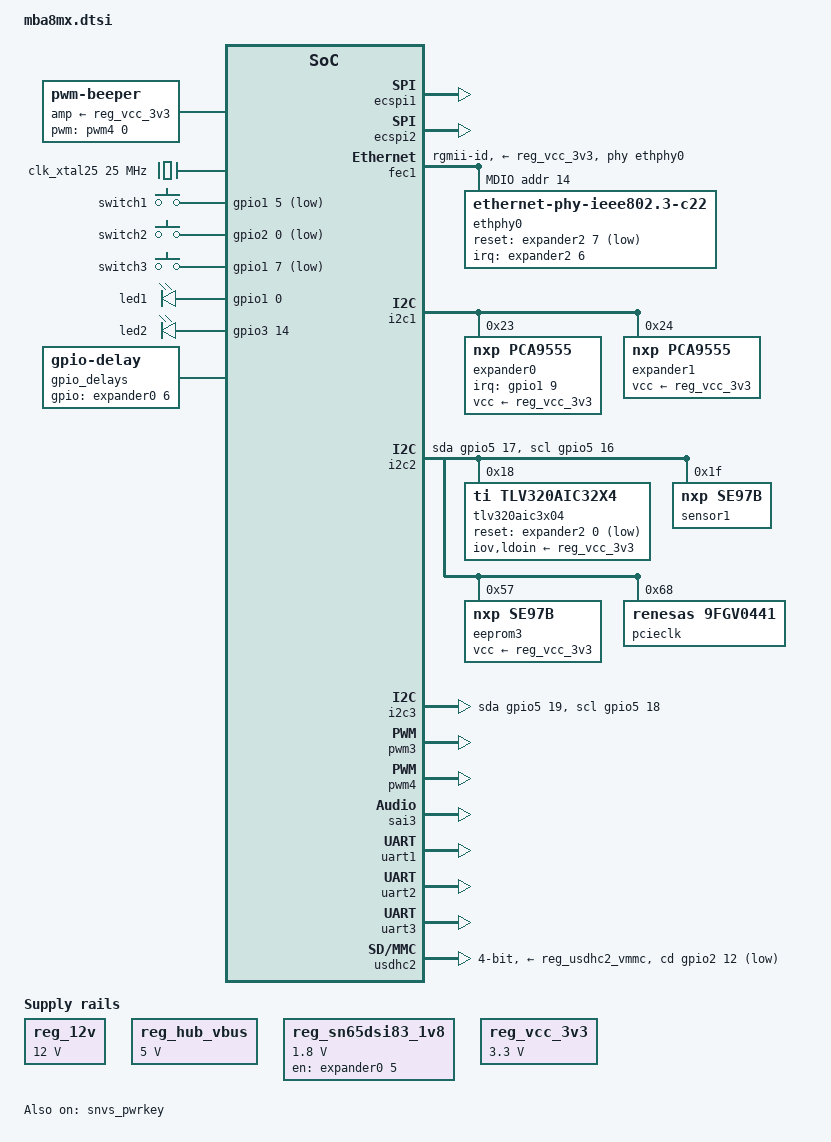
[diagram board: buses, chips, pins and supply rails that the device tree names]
// SPDX-License-Identifier: (GPL-2.0-or-later OR MIT)
/*
 * Copyright 2020-2021 TQ-Systems GmbH
 */

#include <dt-bindings/net/ti-dp83867.h>

/* TQ-Systems GmbH MBa8Mx baseboard */

/ {
	backlight_lvds: backlight {
		compatible = "pwm-backlight";
		pwms = <&pwm3 0 5000000 0>;
		brightness-levels = <0 4 8 16 32 64 128 255>;
		default-brightness-level = <7>;
		power-supply = <&reg_12v>;
		enable-gpios = <&expander2 2 GPIO_ACTIVE_HIGH>;
		status = "disabled";
	};

	beeper {
		compatible = "pwm-beeper";
		pwms = <&pwm4 0 250000 0>;
		beeper-hz = <4000>;
		amp-supply = <&reg_vcc_3v3>;
	};

	chosen {
		stdout-path = &uart3;
	};

	clk_xtal25: clk-xtal25 {
		compatible = "fixed-clock";
		#clock-cells = <0>;
		clock-frequency = <25000000>;
	};

	gpio-keys {
		compatible = "gpio-keys";
		pinctrl-names = "default";
		pinctrl-0 = <&pinctrl_gpiobutton>;
		autorepeat;

		switch-1 {
			label = "switch1";
			linux,code = <BTN_0>;
			gpios = <&gpio1 5 GPIO_ACTIVE_LOW>;
			wakeup-source;
		};

		btn2: switch-2 {
			label = "switch2";
			linux,code = <BTN_1>;
			gpios = <&gpio2 0 GPIO_ACTIVE_LOW>;
			wakeup-source;
		};

		switch-3 {
			label = "switch3";
			linux,code = <BTN_2>;
			gpios = <&gpio1 7 GPIO_ACTIVE_LOW>;
			wakeup-source;
		};
	};

	gpio_leds: gpio-leds {
		compatible = "gpio-leds";
		pinctrl-names = "default";
		pinctrl-0 = <&pinctrl_gpioled>;

		led1 {
			label = "led1";
			gpios = <&gpio1 0 GPIO_ACTIVE_HIGH>;
			linux,default-trigger = "default-on";
		};

		led2: led2 {
			label = "led2";
			gpios = <&gpio3 14 GPIO_ACTIVE_HIGH>;
			linux,default-trigger = "heartbeat";
		};
	};

	gpio_delays: gpio-delays {
		compatible = "gpio-delay";
		#gpio-cells = <3>;
		gpio-controller;
		gpios = <&expander0 6 GPIO_ACTIVE_HIGH>;
		gpio-line-names = "LVDS_BRIDGE_EN_1V8";
	};

	panel: panel-lvds {
		/*
		 * Display is not fixed, so compatible has to be added from
		 * DT overlay
		 */
		backlight = <&backlight_lvds>;
		power-supply = <&reg_vcc_3v3>;
		status = "disabled";

		port {
			panel_in_lvds: endpoint {
				remote-endpoint = <&lvds_bridge_out>;
			};
		};
	};

	reg_12v: regulator-12v {
		compatible = "regulator-fixed";
		regulator-name = "MBA8MX_12V";
		regulator-min-microvolt = <12000000>;
		regulator-max-microvolt = <12000000>;
		regulator-always-on;
	};

	reg_hub_vbus: regulator-hub-vbus {
		compatible = "regulator-fixed";
		regulator-name = "MBA8MX_HUB_VBUS";
		regulator-min-microvolt = <5000000>;
		regulator-max-microvolt = <5000000>;
	};

	reg_sn65dsi83_1v8: regulator-sn65dsi83-1v8 {
		compatible = "regulator-fixed";
		regulator-name = "SN65DSI83_1V8";
		regulator-min-microvolt = <1800000>;
		regulator-max-microvolt = <1800000>;
		gpio = <&expander0 5 GPIO_ACTIVE_HIGH>;
		enable-active-high;
	};

	reg_vcc_3v3: regulator-3v3 {
		compatible = "regulator-fixed";
		regulator-name = "MBA8MX_3V3";
		regulator-min-microvolt = <3300000>;
		regulator-max-microvolt = <3300000>;
	};

	sound: sound {
		compatible = "fsl,imx-audio-tlv320aic32x4";
		model = "tqm-tlv320aic32";
		ssi-controller = <&sai3>;
		audio-codec = <&tlv320aic3x04>;
	};
};

&ecspi1 {
	pinctrl-names = "default";
	pinctrl-0 = <&pinctrl_ecspi1>;
	cs-gpios = <&gpio5 9 GPIO_ACTIVE_LOW>;
	status = "okay";
};

&ecspi2 {
	pinctrl-names = "default";
	pinctrl-0 = <&pinctrl_ecspi2>;
	cs-gpios = <&gpio5 13 GPIO_ACTIVE_LOW>;
	status = "okay";
};

&fec1 {
	pinctrl-names = "default";
	pinctrl-0 = <&pinctrl_fec1>;
	phy-mode = "rgmii-id";
	phy-handle = <&ethphy0>;
	phy-supply = <&reg_vcc_3v3>;
	fsl,magic-packet;
	mac-address = [ 00 00 00 00 00 00 ];
	status = "okay";

	mdio {
		#address-cells = <1>;
		#size-cells = <0>;

		ethphy0: ethernet-phy@e {
			compatible = "ethernet-phy-ieee802.3-c22";
			reg = <0xe>;
			ti,rx-internal-delay = <DP83867_RGMIIDCTL_2_50_NS>;
			ti,tx-internal-delay = <DP83867_RGMIIDCTL_2_50_NS>;
			ti,fifo-depth = <DP83867_PHYCR_FIFO_DEPTH_4_B_NIB>;
			ti,dp83867-rxctrl-strap-quirk;
			ti,clk-output-sel = <DP83867_CLK_O_SEL_OFF>;
			enet-phy-lane-no-swap;
			reset-gpios = <&expander2 7 GPIO_ACTIVE_LOW>;
			reset-assert-us = <500000>;
			reset-deassert-us = <500>;
			interrupt-parent = <&expander2>;
			interrupts = <6 IRQ_TYPE_EDGE_FALLING>;
		};
	};
};

&i2c1 {
	expander0: gpio@23 {
		compatible = "nxp,pca9555";
		reg = <0x23>;
		gpio-controller;
		#gpio-cells = <2>;
		vcc-supply = <&reg_vcc_3v3>;
		interrupt-parent = <&gpio1>;
		interrupts = <9 IRQ_TYPE_EDGE_FALLING>;
		interrupt-controller;
		#interrupt-cells = <2>;
		gpio-line-names = "", "", "", "",
				  "", "", "LVDS_BRIDGE_EN", "",
				  "", "", "", "",
				  "", "", "", "";

		sd-mux-oe-hog {
			gpio-hog;
			gpios = <8 0>;
			output-low;
			line-name = "SD_MUX_EN#";
		};

		boot-cfg-oe-hog {
			gpio-hog;
			gpios = <12 0>;
			output-high;
			line-name = "BOOT_CFG_OE#";
		};

		rst_usb_hub_hog: rst-usb-hub-hog {
			gpio-hog;
			gpios = <13 0>;
			output-high;
			line-name = "RST_USB_HUB#";
		};
	};

	expander1: gpio@24 {
		compatible = "nxp,pca9555";
		reg = <0x24>;
		gpio-controller;
		#gpio-cells = <2>;
		vcc-supply = <&reg_vcc_3v3>;
	};
};

&i2c2 {
	pinctrl-names = "default", "gpio";
	pinctrl-0 = <&pinctrl_i2c2>;
	pinctrl-1 = <&pinctrl_i2c2_gpio>;
	scl-gpios = <&gpio5 16 (GPIO_ACTIVE_HIGH | GPIO_OPEN_DRAIN)>;
	sda-gpios = <&gpio5 17 (GPIO_ACTIVE_HIGH | GPIO_OPEN_DRAIN)>;
	status = "okay";

	tlv320aic3x04: audio-codec@18 {
		compatible = "ti,tlv320aic32x4";
		reg = <0x18>;
		reset-gpios = <&expander2 0 GPIO_ACTIVE_LOW>;
		iov-supply = <&reg_vcc_3v3>;
		ldoin-supply = <&reg_vcc_3v3>;
	};

	sensor1: temperator-sensor@1f {
		compatible = "nxp,se97b", "jedec,jc-42.4-temp";
		reg = <0x1f>;
	};

	/*
	 * TUSB8041 is at 0x41, but not connected by default
	 * Note: TUSB8041 only supports 100 kHz!
	 */

	eeprom3: eeprom@57 {
		compatible = "nxp,se97b", "atmel,24c02";
		reg = <0x57>;
		pagesize = <16>;
		vcc-supply = <&reg_vcc_3v3>;
	};

	pcieclk: clk@68 {
		compatible = "renesas,9fgv0441";
		reg = <0x68>;
		clocks = <&clk_xtal25>;
		#clock-cells = <1>;
	};
};

&i2c3 {
	pinctrl-names = "default", "gpio";
	pinctrl-0 = <&pinctrl_i2c3>;
	pinctrl-1 = <&pinctrl_i2c3_gpio>;
	scl-gpios = <&gpio5 18 (GPIO_ACTIVE_HIGH | GPIO_OPEN_DRAIN)>;
	sda-gpios = <&gpio5 19 (GPIO_ACTIVE_HIGH | GPIO_OPEN_DRAIN)>;
	status = "okay";

	dsi_lvds_bridge: bridge@2d {
		compatible = "ti,sn65dsi84";
		reg = <0x2d>;
		enable-gpios = <&gpio_delays 0 130000 0>;
		vcc-supply = <&reg_sn65dsi83_1v8>;
		status = "disabled";

		ports {
			#address-cells = <1>;
			#size-cells = <0>;

			port@0 {
				reg = <0>;

				lvds_bridge_in: endpoint {
					data-lanes = <1 2 3 4>;
					remote-endpoint = <&mipi_dsi_out>;
				};
			};

			port@2 {
				reg = <2>;

				lvds_bridge_out: endpoint {
					remote-endpoint = <&panel_in_lvds>;
				};
			};
		};
	};
};

&mipi_dsi_out {
	data-lanes = <1 2 3 4>;
	remote-endpoint = <&lvds_bridge_in>;
};

&pwm3 {
	pinctrl-names = "default";
	pinctrl-0 = <&pinctrl_pwm3>;
	status = "okay";
};

&pwm4 {
	pinctrl-names = "default";
	pinctrl-0 = <&pinctrl_pwm4>;
	status = "okay";
};

&sai3 {
	pinctrl-names = "default";
	pinctrl-0 = <&pinctrl_sai3>;
	#sound-dai-cells = <0>;
	assigned-clock-rates = <49152000>;
	status = "okay";
};

&snvs_pwrkey {
	status = "okay";
};

&uart1 {
	pinctrl-names = "default";
	pinctrl-0 = <&pinctrl_uart1>;
	status = "okay";
};

&uart2 {
	pinctrl-names = "default";
	pinctrl-0 = <&pinctrl_uart2>;
	status = "okay";
};

/* console */
&uart3 {
	pinctrl-names = "default";
	pinctrl-0 = <&pinctrl_uart3>;
	status = "okay";
};

&usdhc2 {
	pinctrl-names = "default", "state_100mhz", "state_200mhz";
	pinctrl-0 = <&pinctrl_usdhc2>, <&pinctrl_usdhc2_gpio>;
	pinctrl-1 = <&pinctrl_usdhc2_100mhz>, <&pinctrl_usdhc2_gpio>;
	pinctrl-2 = <&pinctrl_usdhc2_200mhz>, <&pinctrl_usdhc2_gpio>;
	bus-width = <4>;
	cd-gpios = <&gpio2 12 GPIO_ACTIVE_LOW>;
	disable-wp;
	no-mmc;
	no-sdio;
	vmmc-supply = <&reg_usdhc2_vmmc>;
	status = "okay";
};
